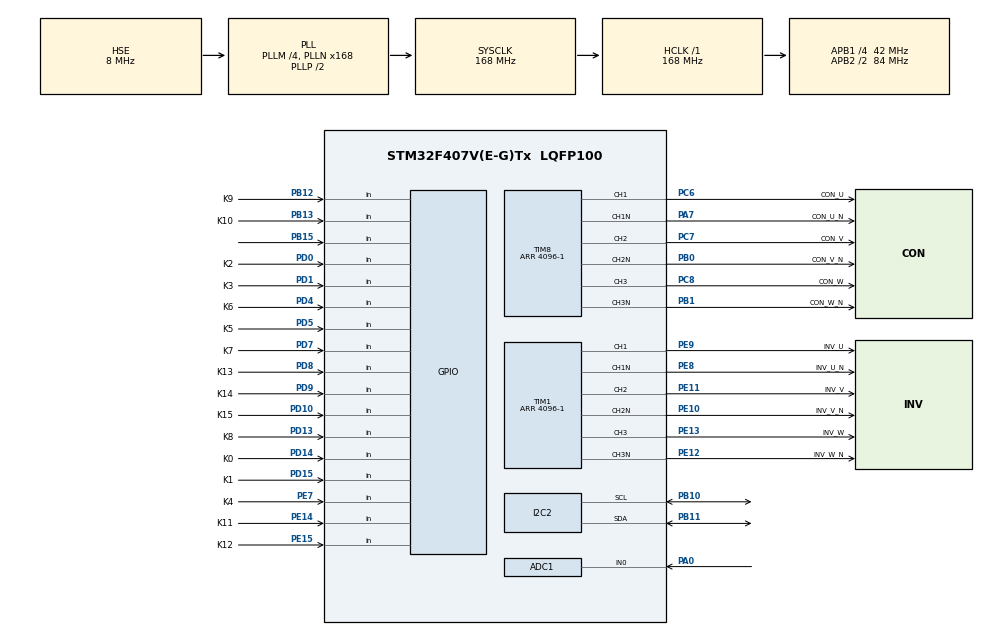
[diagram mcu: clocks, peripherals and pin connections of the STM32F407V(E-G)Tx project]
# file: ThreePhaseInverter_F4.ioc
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ADC1.Channel-1\#ChannelRegularConversion=ADC_CHANNEL_0
ADC1.DMAContinuousRequests=ENABLE
ADC1.ExternalTrigConv=ADC_EXTERNALTRIGCONV_T2_TRGO
ADC1.NbrOfConversionFlag=1
ADC1.Rank-1\#ChannelRegularConversion=1
ADC1.SamplingTime-1\#ChannelRegularConversion=ADC_SAMPLETIME_56CYCLES
ADC1.master=1
Dma.ADC1.0.Direction=DMA_PERIPH_TO_MEMORY
Dma.ADC1.0.FIFOMode=DMA_FIFOMODE_DISABLE
Dma.ADC1.0.Instance=DMA2_Stream0
Dma.ADC1.0.MemDataAlignment=DMA_MDATAALIGN_HALFWORD
Dma.ADC1.0.MemInc=DMA_MINC_ENABLE
Dma.ADC1.0.Mode=DMA_CIRCULAR
Dma.ADC1.0.PeriphDataAlignment=DMA_PDATAALIGN_HALFWORD
Dma.ADC1.0.PeriphInc=DMA_PINC_DISABLE
Dma.ADC1.0.Priority=DMA_PRIORITY_LOW
Dma.Request0=ADC1
I2C2.I2C_Mode=I2C_Fast
I2C2.NoStretchMode=I2C_NOSTRETCH_DISABLE
Mcu.Family=STM32F4
Mcu.Name=STM32F407V(E-G)Tx
Mcu.Package=LQFP100
NVIC.DMA2_Stream0_IRQn=true\:0\:0\:false\:false\:true\:false\:true\:true
NVIC.PriorityGroup=NVIC_PRIORITYGROUP_4
NVIC.TIM1_UP_TIM10_IRQn=true\:0\:0\:false\:false\:true\:true\:true\:true
NVIC.TIM8_TRG_COM_TIM14_IRQn=true\:6\:0\:true\:false\:true\:true\:true\:true
NVIC.TIM8_UP_TIM13_IRQn=true\:0\:0\:false\:false\:true\:true\:true\:true
PA0-WKUP.Signal=ADCx_IN0
PA13.Mode=Serial_Wire
PA13.Signal=SYS_JTMS-SWDIO
PA14.Mode=Serial_Wire
PA14.Signal=SYS_JTCK-SWCLK
PA7.GPIO_Label=CON_U_N
PA7.Mode=PWM Generation1 CH1 CH1N
PA7.Signal=TIM8_CH1N
PB0.GPIO_Label=CON_V_N
PB0.Mode=PWM Generation2 CH2 CH2N
PB0.Signal=TIM8_CH2N
PB1.GPIO_Label=CON_W_N
PB1.Mode=PWM Generation3 CH3 CH3N
PB1.Signal=TIM8_CH3N
PB10.Mode=I2C
PB10.Signal=I2C2_SCL
PB11.Mode=I2C
PB11.Signal=I2C2_SDA
PB12.GPIO_Label=K9
PB12.Signal=GPIO_Input
PB13.GPIO_Label=K10
PB13.Signal=GPIO_Input
PB15.Signal=GPIO_Input
PC6.GPIO_Label=CON_U
PC6.Signal=S_TIM8_CH1
PC7.GPIO_Label=CON_V
PC7.Signal=S_TIM8_CH2
PC8.GPIO_Label=CON_W
PC8.Signal=S_TIM8_CH3
PD0.GPIO_Label=K2
PD0.Signal=GPIO_Input
PD1.GPIO_Label=K3
PD1.Signal=GPIO_Input
PD10.GPIO_Label=K15
PD10.Signal=GPIO_Input
PD13.GPIO_Label=K8
PD13.Signal=GPIO_Input
PD14.GPIO_Label=K0
PD14.Signal=GPIO_Input
PD15.GPIO_Label=K1
PD15.Signal=GPIO_Input
PD4.GPIO_Label=K6
PD4.Signal=GPIO_Input
PD5.GPIO_Label=K5
PD5.Signal=GPIO_Input
PD7.GPIO_Label=K7
PD7.Signal=GPIO_Input
PD8.GPIO_Label=K13
PD8.Signal=GPIO_Input
PD9.GPIO_Label=K14
PD9.Signal=GPIO_Input
PE10.GPIO_Label=INV_V_N
PE10.Mode=PWM Generation2 CH2 CH2N
PE10.Signal=TIM1_CH2N
PE11.GPIO_Label=INV_V
PE11.Signal=S_TIM1_CH2
PE12.GPIO_Label=INV_W_N
PE12.Mode=PWM Generation3 CH3 CH3N
PE12.Signal=TIM1_CH3N
PE13.GPIO_Label=INV_W
PE13.Signal=S_TIM1_CH3
PE14.GPIO_Label=K11
PE14.Signal=GPIO_Input
PE15.GPIO_Label=K12
PE15.Signal=GPIO_Input
PE7.GPIO_Label=K4
PE7.Signal=GPIO_Input
PE8.GPIO_Label=INV_U_N
PE8.Mode=PWM Generation1 CH1 CH1N
PE8.Signal=TIM1_CH1N
PE9.GPIO_Label=INV_U
PE9.Signal=S_TIM1_CH1
PH0-OSC_IN.Mode=HSE-External-Oscillator
PH0-OSC_IN.Signal=RCC_OSC_IN
PH1-OSC_OUT.Mode=HSE-External-Oscillator
PH1-OSC_OUT.Signal=RCC_OSC_OUT
ProjectManager.HeapSize=0x2048
ProjectManager.StackSize=0x2048
ProjectManager.TargetToolchain=STM32CubeIDE
RCC.48MHZClocksFreq_Value=84000000
RCC.AHBFreq_Value=168000000
RCC.APB1CLKDivider=RCC_HCLK_DIV4
RCC.APB1Freq_Value=42000000
RCC.APB1TimFreq_Value=84000000
RCC.APB2CLKDivider=RCC_HCLK_DIV2
RCC.APB2Freq_Value=84000000
RCC.APB2TimFreq_Value=168000000
RCC.CortexFreq_Value=168000000
RCC.HCLKFreq_Value=168000000
RCC.HSE_VALUE=8000000
RCC.HSI_VALUE=16000000
RCC.LSE_VALUE=32768
RCC.PLLM=4
RCC.PLLN=168
RCC.PLLSourceVirtual=RCC_PLLSOURCE_HSE
RCC.SYSCLKFreq_VALUE=168000000
RCC.SYSCLKSource=RCC_SYSCLKSOURCE_PLLCLK
RCC.VCOOutputFreq_Value=336000000
SH.ADCx_IN0.0=ADC1_IN0,IN0
SH.S_TIM1_CH1.0=TIM1_CH1,PWM Generation1 CH1 CH1N
SH.S_TIM1_CH2.0=TIM1_CH2,PWM Generation2 CH2 CH2N
SH.S_TIM1_CH3.0=TIM1_CH3,PWM Generation3 CH3 CH3N
SH.S_TIM8_CH1.0=TIM8_CH1,PWM Generation1 CH1 CH1N
SH.S_TIM8_CH2.0=TIM8_CH2,PWM Generation2 CH2 CH2N
SH.S_TIM8_CH3.0=TIM8_CH3,PWM Generation3 CH3 CH3N
STMicroelectronics.X-CUBE-ALGOBUILD.1.4.0.LibraryCcDSPOoLibraryJjDSPOoLibrary=true
TIM1.AutomaticOutput=TIM_AUTOMATICOUTPUT_ENABLE
TIM1.Channel-PWM\ Generation1\ CH1\ CH1N=TIM_CHANNEL_1
TIM1.Channel-PWM\ Generation2\ CH2\ CH2N=TIM_CHANNEL_2
TIM1.Channel-PWM\ Generation3\ CH3\ CH3N=TIM_CHANNEL_3
TIM1.CounterMode=TIM_COUNTERMODE_CENTERALIGNED1
TIM1.DeadTime=102
TIM1.OCFastMode_PWM-PWM\ Generation1\ CH1\ CH1N=TIM_OCFAST_ENABLE
TIM1.OCFastMode_PWM-PWM\ Generation2\ CH2\ CH2N=TIM_OCFAST_ENABLE
TIM1.OCFastMode_PWM-PWM\ Generation3\ CH3\ CH3N=TIM_OCFAST_ENABLE
TIM1.OCMode_PWM-PWM\ Generation1\ CH1\ CH1N=TIM_OCMODE_PWM1
TIM1.OCMode_PWM-PWM\ Generation2\ CH2\ CH2N=TIM_OCMODE_PWM1
TIM1.OCMode_PWM-PWM\ Generation3\ CH3\ CH3N=TIM_OCMODE_PWM1
TIM1.Period=4096-1
TIM14.Period=9999
TIM14.Prescaler=83
TIM2.Period=199
TIM2.Prescaler=83
TIM2.TIM_MasterOutputTrigger=TIM_TRGO_UPDATE
TIM8.AutomaticOutput=TIM_AUTOMATICOUTPUT_ENABLE
TIM8.Channel-PWM\ Generation1\ CH1\ CH1N=TIM_CHANNEL_1
TIM8.Channel-PWM\ Generation2\ CH2\ CH2N=TIM_CHANNEL_2
TIM8.Channel-PWM\ Generation3\ CH3\ CH3N=TIM_CHANNEL_3
TIM8.CounterMode=TIM_COUNTERMODE_CENTERALIGNED1
TIM8.DeadTime=168
TIM8.OCFastMode_PWM-PWM\ Generation1\ CH1\ CH1N=TIM_OCFAST_ENABLE
TIM8.OCFastMode_PWM-PWM\ Generation2\ CH2\ CH2N=TIM_OCFAST_ENABLE
TIM8.OCFastMode_PWM-PWM\ Generation3\ CH3\ CH3N=TIM_OCFAST_ENABLE
TIM8.Period=4096-1
VP_STMicroelectronics.X-CUBE-ALGOBUILD_VS_DSPOoLibraryJjLibrary_1.4.0_1.4.0.Mode=DSPOoLibraryJjLibrary
VP_TIM14_VS_ClockSourceINT.Mode=Enable_Timer
VP_TIM1_VS_ClockSourceINT.Mode=Internal
VP_TIM2_VS_ClockSourceINT.Mode=Internal
VP_TIM8_VS_ClockSourceINT.Mode=Internal
board=custom

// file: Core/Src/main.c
///////////////////////////////////////////////////////////////////////////////////////////////////////////
// 本程序作者为西北工业大学郭、陈、曹，参与2025年全国大学生电子设计竞赛，并获得国家级一等奖
// Copyright (c) 2025 郭、陈、曹.
// All rights reserved.
///////////////////////////////////////////////////////////////////////////////////////////////////////////
/* USER CODE BEGIN Header */
/**
  ******************************************************************************
  * @file           : main.c
  * @brief          : Main program body
  ******************************************************************************
  * @attention
  *
  * Copyright (c) 2025 STMicroelectronics.
  * All rights reserved.
  *
  * This software is licensed under terms that can be found in the LICENSE file
  * in the root directory of this software component.
  * If no LICENSE file comes with this software, it is provided AS-IS.
  *
  ******************************************************************************
  */
/* USER CODE END Header */
#include "main.h"
#include "adc.h"
#include "dma.h"
#include "i2c.h"
#include "tim.h"
#include "gpio.h"

/* USER CODE BEGIN Includes */
#include <math.h>
#include <stdbool.h>
#include <stdio.h>
#include <stdlib.h>
#include "multi_button.h"
#include "SEGGER_RTT.h"
#include "sin_wave.h"
#include "sin_wave_float.h"
#include "arm_math.h"
#include "oled.h"

/* USER CODE END Includes */

/* USER CODE BEGIN PTD */
typedef struct
{
    float Kp;
    float Ki;
    float Kd;
    float error;
    float prev_error;
    float prev_prev_error;
    float setpoint;
} PIDController;

static Button btn0, btn1, btn2, btn3, btn4, btn5, btn6, btn7, btn8, btn9, btn10, btn11, btn12, btn13, btn14, btn15;
/* USER CODE END PTD */

/* USER CODE BEGIN PM */
#define printf(...) SEGGER_RTT_printf(0, __VA_ARGS__)
/* USER CODE END PM */

/* USER CODE BEGIN PV */
/* Modulation Parameters */
#define THREE_PHASE_INVERTER_FREQ_HZ 50
#define FREQUENCY_CHANGE_1HZ 209370
#define FREQUENCY_COMPENSATE
uint32_t cnt_add = (4294967296 / 170000000 * 4096 * 2 * THREE_PHASE_INVERTER_FREQ_HZ + 228400);
#define FREQUENCY_50HZ (4294967296 / 170000000 * 4096 * 2 * THREE_PHASE_INVERTER_FREQ_HZ + 228400)
#ifdef CONFIG_INVERTER_USE_SVPWM
#define CARRIER_FREQ_HZ sin_wave_svpwm
#elif CONFIG_INVERTER_USE_SPWM
#define CARRIER_FREQ_HZ sin_wave_spwm
#elif CONFIG_INVERTER_USE_SVPWM_FLOAT
#define CARRIER_FREQ_HZ pwm_wave_svpwm_float
#elif CONFIG_INVERTER_USE_SPWM_FLOAT
#define CARRIER_FREQ_HZ pwm_wave_spwm_float
#endif
uint32_t inv_phi_u = 0; // u相位
uint32_t inv_phi_v = 1431655765; // v相位
uint32_t inv_phi_w = 2863311530; // w相位
uint32_t inv_pwm_index_u = 0; // u相位索引
uint32_t inv_pwm_index_v = 0; // v相位索引
uint32_t inv_pwm_index_w = 0; // w相位索引
uint32_t con_phi_u = 0; // u相位
uint32_t con_phi_v = 1431655765; // v相位
uint32_t con_phi_w = 2863311530; // w相位
uint32_t con_pwm_index_u = 0; // u相位索引
uint32_t con_pwm_index_v = 0; // v相位索引
uint32_t con_pwm_index_w = 0; // w相位索引
uint32_t delta_phi = 2147483648;
float inv_depth = 0.99f; // 调制深度 (0.f~1.f)
float con_depth = 0.99f; // 调制深度 (0.f~1.f)
uint32_t dc_i_compare = 3480;
/* ADC Sampling Parameters */
#define ADC_BUFFER_SIZE 100
uint16_t adc_buffer[ADC_BUFFER_SIZE];
volatile uint8_t adc_data_ready_flag = 0;
#define MEDIAN_FILTER_SIZE 5
uint16_t filtered_adc_buffer[ADC_BUFFER_SIZE];
float filtered_vpp_buffer[ADC_BUFFER_SIZE];
/* PID Controller Parameters */
float output_V = 0;
float Vpp_set = 45.255f - 0.5f;
float Vpp_now = 0.f;
volatile float g_latest_vpp = 0.f;
/* FREQ&PHASE Capture Parameters */
volatile uint32_t g_period_ticks = 0;
volatile int32_t g_time_diff_ticks = 0;
volatile float g_frequency = 0.0f;
volatile float g_phase_diff_degree = 0.0f;

#define AVG_COUNT 100
float vpp_buffer[AVG_COUNT];
int vpp_index = 0;
bool vpp_ready = false;
/* USER CODE END PV */

void SystemClock_Config(void);
/* USER CODE BEGIN PFP */
// PID
void initPIDController(PIDController* pid, float Kp, float Ki, float Kd);
void incrementalPDControl_V(PIDController* pid, float Vnow, float Vset);
void PID_Ctrl();
// Button
uint8_t read_button_gpio(uint8_t button_id);
void btn0_single_click_handler(Button *btn);
void btn1_single_click_handler(Button *btn);
void btn2_single_click_handler(Button *btn);
void btn3_single_click_handler(Button *btn);
void btn4_single_click_handler(Button *btn);
void btn5_single_click_handler(Button *btn);
void btn6_single_click_handler(Button *btn);
void btn7_single_click_handler(Button *btn);
void btn8_single_click_handler(Button *btn);
void btn9_single_click_handler(Button *btn);
void btn10_single_click_handler(Button *btn);
void btn11_single_click_handler(Button *btn);
void btn12_single_click_handler(Button *btn);
void btn13_single_click_handler(Button *btn);
void btn14_single_click_handler(Button *btn);
void btn15_single_click_handler(Button *btn);
//ADC
float get_vpp_voltage(void);
static int compare_uint16(const void* a, const void* b);
uint16_t median_filter(uint16_t new_sample);
float calc_vpp(uint16_t* buffer, uint32_t size);
// Start
void Inverter_Start(void);
void Converter_Start(void);
void ADC_TIM_Start(void);
void Button_Start();
void PID_Control_Start();
/* USER CODE END PFP */

/* USER CODE BEGIN 0 */
/* Start Functions */
void Inverter_Start(void)
{
    HAL_TIM_Base_Start_IT(&htim1);

    HAL_TIM_PWM_Start(&htim1, TIM_CHANNEL_1);
    HAL_TIMEx_PWMN_Start(&htim1, TIM_CHANNEL_1);
    HAL_TIM_PWM_Start(&htim1, TIM_CHANNEL_2);
    HAL_TIMEx_PWMN_Start(&htim1, TIM_CHANNEL_2);
    HAL_TIM_PWM_Start(&htim1, TIM_CHANNEL_3);
    HAL_TIMEx_PWMN_Start(&htim1, TIM_CHANNEL_3);
}

void Converter_Start(void)
{
    HAL_TIM_Base_Start_IT(&htim8);

    // HAL_TIM_PWM_Start(&htim8, TIM_CHANNEL_1);
    // HAL_TIMEx_PWMN_Start(&htim8, TIM_CHANNEL_1);
    // HAL_TIM_PWM_Start(&htim8, TIM_CHANNEL_2);
    // HAL_TIMEx_PWMN_Start(&htim8, TIM_CHANNEL_2);
    HAL_TIM_PWM_Start(&htim8, TIM_CHANNEL_3);
    HAL_TIMEx_PWMN_Start(&htim8, TIM_CHANNEL_3);
}

void ADC_TIM_Start(void)
{
    HAL_TIM_Base_Start(&htim2);
    HAL_ADC_Start_DMA(&hadc1, (uint32_t*)adc_buffer, ADC_BUFFER_SIZE);
}

void Button_Start()
{
    // Button 0
    button_init(&btn0, read_button_gpio, 0, 0);
    button_attach(&btn0, BTN_SINGLE_CLICK, btn0_single_click_handler);
    button_start(&btn0);

    // Button 1
    button_init(&btn1, read_button_gpio, 0, 1);
    button_attach(&btn1, BTN_SINGLE_CLICK, btn1_single_click_handler);
    button_start(&btn1);

    // Button 2
    button_init(&btn2, read_button_gpio, 0, 2);
    button_attach(&btn2, BTN_SINGLE_CLICK, btn2_single_click_handler);
    button_start(&btn2);

    // Button 3
    button_init(&btn3, read_button_gpio, 0, 3);
    button_attach(&btn3, BTN_SINGLE_CLICK, btn3_single_click_handler);
    button_start(&btn3);

    // Button 4
    button_init(&btn4, read_button_gpio, 0, 4);
    button_attach(&btn4, BTN_SINGLE_CLICK, btn4_single_click_handler);
    button_start(&btn4);

    // Button 5
    button_init(&btn5, read_button_gpio, 0, 5);
    button_attach(&btn5, BTN_SINGLE_CLICK, btn5_single_click_handler);
    button_start(&btn5);

    // Button 6
    button_init(&btn6, read_button_gpio, 0, 6);
    button_attach(&btn6, BTN_SINGLE_CLICK, btn6_single_click_handler);
    button_start(&btn6);

    // Button 7
    button_init(&btn7, read_button_gpio, 0, 7);
    button_attach(&btn7, BTN_SINGLE_CLICK, btn7_single_click_handler);
    button_start(&btn7);

    // Button 8
    button_init(&btn8, read_button_gpio, 0, 8);
    button_attach(&btn8, BTN_SINGLE_CLICK, btn8_single_click_handler);
    button_start(&btn8);

    // Button 9
    button_init(&btn9, read_button_gpio, 0, 9);
    button_attach(&btn9, BTN_SINGLE_CLICK, btn9_single_click_handler);
    button_start(&btn9);

    // Button 10
    button_init(&btn10, read_button_gpio, 0, 10);
    button_attach(&btn10, BTN_SINGLE_CLICK, btn10_single_click_handler);
    button_start(&btn10);

    // Button 11
    button_init(&btn11, read_button_gpio, 0, 11);
    button_attach(&btn11, BTN_SINGLE_CLICK, btn11_single_click_handler);
    button_start(&btn11);

    // Button 12
    button_init(&btn12, read_button_gpio, 0, 12);
    button_attach(&btn12, BTN_SINGLE_CLICK, btn12_single_click_handler);
    button_start(&btn12);

    // Button 13
    button_init(&btn13, read_button_gpio, 0, 13);
    button_attach(&btn13, BTN_SINGLE_CLICK, btn13_single_click_handler);
    button_start(&btn13);

    // Button 14
    button_init(&btn14, read_button_gpio, 0, 14);
    button_attach(&btn14, BTN_SINGLE_CLICK, btn14_single_click_handler);
    button_start(&btn14);

    // Button 15
    button_init(&btn15, read_button_gpio, 0, 15);
    button_attach(&btn15, BTN_SINGLE_CLICK, btn15_single_click_handler);
    button_start(&btn15);
}

void PID_Control_Start()
{
    HAL_TIM_Base_Start_IT(&htim14);
}

/* Public Functions */
// PID
void initPIDController(PIDController* pid, float Kp, float Ki, float Kd)
{
    pid->Kp = Kp;
    pid->Ki = Ki;
    pid->Kd = Kd;
    pid->error = 0;
    pid->prev_error = 0;
    pid->prev_prev_error = 0;
}

void incrementalPDControl_V(PIDController* pid, float Vnow, float Vset)
{
    pid->error = Vset - Vnow;

    float add = pid->Kp * (pid->error - pid->prev_error)
        + pid->Ki * pid->error
        + pid->Kd * (pid->error - 2 * pid->prev_error + pid->prev_prev_error);

    output_V += add;

    if (output_V < 0.0f)
        output_V = 0.0f;
    if (output_V > 0.99f)
        output_V = 0.99f;

    pid->prev_prev_error = pid->prev_error;
    pid->prev_error = pid->error;
}

void PID_Ctrl()
{
    static PIDController pid_V;
    static int initialized = 0;
    if (!initialized)
    {
        initPIDController(&pid_V, 0.002f, 0.0001f, 0.f);
        initialized = 1;
    }
    Vpp_now = get_vpp_voltage();
    incrementalPDControl_V(&pid_V, Vpp_now, Vpp_set);
    inv_depth = output_V;
}

// Button
uint8_t read_button_gpio(uint8_t button_id)
{
    switch (button_id)
    {
    case 0: return HAL_GPIO_ReadPin(K0_GPIO_Port, K0_Pin);
    case 1: return HAL_GPIO_ReadPin(K1_GPIO_Port, K1_Pin);
    case 2: return HAL_GPIO_ReadPin(K2_GPIO_Port, K2_Pin);
    case 3: return HAL_GPIO_ReadPin(K3_GPIO_Port, K3_Pin);
    case 4: return HAL_GPIO_ReadPin(K4_GPIO_Port, K4_Pin);
    case 5: return HAL_GPIO_ReadPin(K5_GPIO_Port, K5_Pin);
    case 6: return HAL_GPIO_ReadPin(K6_GPIO_Port, K6_Pin);
    case 7: return HAL_GPIO_ReadPin(K7_GPIO_Port, K7_Pin);
    case 8: return HAL_GPIO_ReadPin(K8_GPIO_Port, K8_Pin);
    case 9: return HAL_GPIO_ReadPin(K9_GPIO_Port, K9_Pin);
    case 10: return HAL_GPIO_ReadPin(K10_GPIO_Port, K10_Pin);
    case 11: return HAL_GPIO_ReadPin(K11_GPIO_Port, K11_Pin);
    case 12: return HAL_GPIO_ReadPin(K12_GPIO_Port, K12_Pin);
    case 13: return HAL_GPIO_ReadPin(K13_GPIO_Port, K13_Pin);
    case 14: return HAL_GPIO_ReadPin(K14_GPIO_Port, K14_Pin);
    case 15: return HAL_GPIO_ReadPin(K15_GPIO_Port, K15_Pin);
    default: return 0;
    }
}

void btn0_single_click_handler(Button *btn)
{
    printf("btn0 single click\r\n");
    // for software reset
    SCB->AIRCR = ((0x5FA << SCB_AIRCR_VECTKEY_Pos) |
        (SCB->AIRCR & SCB_AIRCR_PRIGROUP_Msk) |
        SCB_AIRCR_SYSRESETREQ_Msk |
        SCB_AIRCR_VECTCLRACTIVE_Msk | SCB_AIRCR_VECTRESET_Msk);
}

void btn1_single_click_handler(Button *btn)
{
    printf("btn1 single click\r\n");
    HAL_TIM_PWM_Stop_IT(&htim1, TIM_CHANNEL_1);
    HAL_TIM_PWM_Stop_IT(&htim1, TIM_CHANNEL_2);
    HAL_TIM_PWM_Stop_IT(&htim1, TIM_CHANNEL_3);
}

void btn2_single_click_handler(Button *btn)
{
    printf("btn2 single click\r\n");
    HAL_TIM_PWM_Start_IT(&htim1, TIM_CHANNEL_1);
    HAL_TIM_PWM_Start_IT(&htim1, TIM_CHANNEL_2);
    HAL_TIM_PWM_Start_IT(&htim1, TIM_CHANNEL_3);
}

void btn3_single_click_handler(Button *btn)
{
    printf("btn3 single click\r\n");
    Vpp_set -= 1.f;
}

void btn4_single_click_handler(Button *btn)
{
    printf("btn4 single click\r\n");
    Vpp_set -= 0.1f;
}

void btn5_single_click_handler(Button *btn)
{
    printf("btn5 single click\r\n");
    Vpp_set = 45.255f;
}

void btn6_single_click_handler(Button *btn)
{
    printf("btn6 single click\r\n");
    Vpp_set += 0.1f;
}

void btn7_single_click_handler(Button *btn)
{
    printf("btn7 single click\r\n");
    Vpp_set += 1.f;
}

void btn8_single_click_handler(Button *btn)
{
    printf("btn8 single click\r\n");
    cnt_add += 10 * FREQUENCY_CHANGE_1HZ;
}

void btn9_single_click_handler(Button *btn)
{
    printf("btn9 single click\r\n");
    cnt_add += 1 * FREQUENCY_CHANGE_1HZ;
}

void btn10_single_click_handler(Button *btn)
{
    printf("btn10 single click\r\n");
    cnt_add = FREQUENCY_50HZ;
}

void btn11_single_click_handler(Button *btn)
{
    printf("btn11 single click\r\n");
    cnt_add -= 1 * FREQUENCY_CHANGE_1HZ;
}

void btn12_single_click_handler(Button *btn)
{
    printf("btn12 single click\r\n");
    cnt_add -= 10 * FREQUENCY_CHANGE_1HZ;
}

void btn13_single_click_handler(Button *btn)
{
    printf("btn13 single click\r\n");
    dc_i_compare -= 4;
}

void btn14_single_click_handler(Button *btn)
{
    printf("btn14 single click\r\n");
    dc_i_compare = 3600;
}

void btn15_single_click_handler(Button *btn)
{
    printf("btn15 single click\r\n");
    dc_i_compare += 4;
}

// ADC
float get_vpp_voltage(void)
{
    return g_latest_vpp;
}

static int compare_uint16(const void* a, const void* b)
{
    uint16_t val1 = *(const uint16_t*)a;
    uint16_t val2 = *(const uint16_t*)b;
    if (val1 < val2) return -1;
    if (val1 > val2) return 1;
    return 0;
}

uint16_t median_filter(uint16_t new_sample)
{
    static uint16_t window[MEDIAN_FILTER_SIZE];
    static uint8_t index = 0;
    static bool window_full = false;

    window[index] = new_sample;
    index++;

    if (index >= MEDIAN_FILTER_SIZE)
    {
        index = 0;
        window_full = true;
    }

    if (!window_full)
    {
        return new_sample;
    }

    uint16_t temp_sorted_window[MEDIAN_FILTER_SIZE];
    for (int i = 0; i < MEDIAN_FILTER_SIZE; i++)
    {
        temp_sorted_window[i] = window[i];
    }

    qsort(temp_sorted_window, MEDIAN_FILTER_SIZE, sizeof(uint16_t), compare_uint16);

    return temp_sorted_window[MEDIAN_FILTER_SIZE / 2];
}

float calc_vpp(uint16_t* buffer, uint32_t size)
{
    if (buffer == NULL || size == 0)
    {
        return 0.0f;
    }

    uint16_t adc_max = buffer[0];
    uint16_t adc_min = buffer[0];

    for (uint32_t i = 1; i < size; i++)
    {
        if (buffer[i] > adc_max)
        {
            adc_max = buffer[i];
        }
        if (buffer[i] < adc_min)
        {
            adc_min = buffer[i];
        }
    }

    uint16_t adc_pp = adc_max - adc_min;

    float vpp = 15.3570f * ((float)adc_pp / 4096.0f * 3.3f) + 2.1906f;
    float true_vpp = 1.0615 * vpp - 2.3372 + 0.28f;

    return true_vpp;
}

/* Interrupt Callback Functions */
void HAL_TIM_PeriodElapsedCallback(TIM_HandleTypeDef* htim)
{
    if (htim->Instance == TIM1 && __HAL_TIM_IS_TIM_COUNTING_DOWN(htim))
    {
        inv_phi_u += cnt_add;
        inv_phi_v += cnt_add;
        inv_phi_w += cnt_add;
        inv_pwm_index_u = inv_phi_u >> 20;
        inv_pwm_index_v = inv_phi_v >> 20;
        inv_pwm_index_w = inv_phi_w >> 20;
        __HAL_TIM_SetCompare(htim, TIM_CHANNEL_1, CARRIER_FREQ_HZ[inv_pwm_index_u] * inv_depth + 2048);
        __HAL_TIM_SetCompare(htim, TIM_CHANNEL_2, CARRIER_FREQ_HZ[inv_pwm_index_v] * inv_depth + 2048);
        __HAL_TIM_SetCompare(htim, TIM_CHANNEL_3, CARRIER_FREQ_HZ[inv_pwm_index_w] * inv_depth + 2048);
    }

    if (htim->Instance == TIM8 && __HAL_TIM_IS_TIM_COUNTING_DOWN(htim))
    {
        con_phi_u = inv_phi_u + delta_phi;
        con_phi_v = inv_phi_v + delta_phi;
        con_phi_w = inv_phi_w + delta_phi;
        con_pwm_index_u = con_phi_u >> 20;
        con_pwm_index_v = con_phi_v >> 20;
        con_pwm_index_w = con_phi_w >> 20;
        // __HAL_TIM_SetCompare(htim, TIM_CHANNEL_1, dc_i_compare);
        // __HAL_TIM_SetCompare(htim, TIM_CHANNEL_2, dc_i_compare);
        __HAL_TIM_SetCompare(htim, TIM_CHANNEL_3, dc_i_compare);
    }

    if (htim->Instance == TIM14)
    {
        PID_Ctrl();
    }
}

void HAL_ADC_ConvCpltCallback(ADC_HandleTypeDef* hadc)
{
    adc_data_ready_flag = 1;
}

/* USER CODE END 0 */

int main(void)
{

  /* MCU Configuration--------------------------------------------------------*/

  /* Reset of all peripherals, Initializes the Flash interface and the Systick. */
  HAL_Init();

  /* Configure the system clock */
  SystemClock_Config();

  /* Initialize all configured peripherals */
  MX_GPIO_Init();
  MX_DMA_Init();
  MX_TIM1_Init();
  MX_ADC1_Init();
  MX_TIM14_Init();
  MX_TIM2_Init();
  MX_TIM8_Init();
  MX_I2C2_Init();
  /* USER CODE BEGIN 2 */
    SEGGER_RTT_Init();
    printf("Hello Three Phase Inverter\r\n");
    printf("System Clock: %ld Hz\r\n", HAL_RCC_GetSysClockFreq());
    // HAL_Delay(1000);
    // OLED_Init();
    Button_Start();
    Inverter_Start();
    Converter_Start();
    ADC_TIM_Start();
    PID_Control_Start();
    char str[32];
  /* USER CODE END 2 */

  /* Infinite loop */
  /* USER CODE BEGIN WHILE */
    while (1)
    {
        if (adc_data_ready_flag)
        {
            adc_data_ready_flag = 0;

            for (int i = 0; i < ADC_BUFFER_SIZE; i++)
            {
                filtered_adc_buffer[i] = median_filter(adc_buffer[i]);
                filtered_vpp_buffer[i] = calc_vpp(filtered_adc_buffer, ADC_BUFFER_SIZE);
            }
            float current_vpp = calc_vpp(filtered_adc_buffer, ADC_BUFFER_SIZE);
            g_latest_vpp = current_vpp;
            // sprintf(str, "%.6f\r\n", current_vpp);
            // printf(str);
        }
        // sprintf(str, "now vpp: %.2f\r\n", get_vpp_voltage());
        // printf(str);
        // char str[64];

        // 在每次调用处更新
        vpp_buffer[vpp_index++] = Vpp_now;
        if (vpp_index >= AVG_COUNT) {
            vpp_index = 0;
            vpp_ready = true;
        }

        if (vpp_ready) {
            float sum = 0.0f;
            for (int i = 0; i < AVG_COUNT; i++) {
                sum += vpp_buffer[i];
            }
            float vpp_avg = sum / AVG_COUNT;

            // OLED_NewFrame();
            // sprintf(str, "Vpnow: %.2f\r\n", vpp_avg);
            // OLED_PrintString(2, 0, str, &font16x16, OLED_COLOR_NORMAL);
            // sprintf(str, "Vpset: %.2f", Vpp_set);
            // OLED_PrintString(2, 16, str, &font16x16, OLED_COLOR_NORMAL);
            // sprintf(str, "M: %.2f", output_V);
            // OLED_PrintString(2, 32, str, &font16x16, OLED_COLOR_NORMAL);
            // sprintf(str, "i: %d", dc_i_compare);
            // OLED_PrintString(2, 48, str, &font16x16, OLED_COLOR_NORMAL);
            // OLED_ShowFrame();

            vpp_ready = false;
        }
    /* USER CODE END WHILE */

    }
}

void SystemClock_Config(void)
{
  RCC_OscInitTypeDef RCC_OscInitStruct = {0};
  RCC_ClkInitTypeDef RCC_ClkInitStruct = {0};

  /** Configure the main internal regulator output voltage
  */
  __HAL_RCC_PWR_CLK_ENABLE();
  __HAL_PWR_VOLTAGESCALING_CONFIG(PWR_REGULATOR_VOLTAGE_SCALE1);

  /** Initializes the RCC Oscillators according to the specified parameters
  * in the RCC_OscInitTypeDef structure.
  */
  RCC_OscInitStruct.OscillatorType = RCC_OSCILLATORTYPE_HSE;
  RCC_OscInitStruct.HSEState = RCC_HSE_ON;
  RCC_OscInitStruct.PLL.PLLState = RCC_PLL_ON;
  RCC_OscInitStruct.PLL.PLLSource = RCC_PLLSOURCE_HSE;
  RCC_OscInitStruct.PLL.PLLM = 4;
  RCC_OscInitStruct.PLL.PLLN = 168;
  RCC_OscInitStruct.PLL.PLLP = RCC_PLLP_DIV2;
  RCC_OscInitStruct.PLL.PLLQ = 4;
  if (HAL_RCC_OscConfig(&RCC_OscInitStruct) != HAL_OK)
  {
    Error_Handler();
  }

  /** Initializes the CPU, AHB and APB buses clocks
  */
  RCC_ClkInitStruct.ClockType = RCC_CLOCKTYPE_HCLK|RCC_CLOCKTYPE_SYSCLK
                              |RCC_CLOCKTYPE_PCLK1|RCC_CLOCKTYPE_PCLK2;
  RCC_ClkInitStruct.SYSCLKSource = RCC_SYSCLKSOURCE_PLLCLK;
  RCC_ClkInitStruct.AHBCLKDivider = RCC_SYSCLK_DIV1;
  RCC_ClkInitStruct.APB1CLKDivider = RCC_HCLK_DIV4;
  RCC_ClkInitStruct.APB2CLKDivider = RCC_HCLK_DIV2;

  if (HAL_RCC_ClockConfig(&RCC_ClkInitStruct, FLASH_LATENCY_5) != HAL_OK)
  {
    Error_Handler();
  }
}

void Error_Handler(void)
{
    __disable_irq();
    while (1)
    {
    }
}
